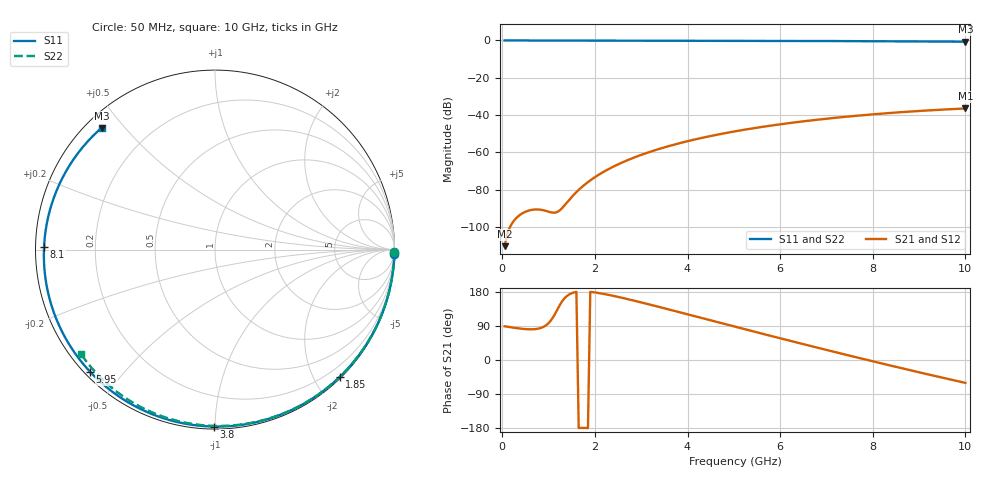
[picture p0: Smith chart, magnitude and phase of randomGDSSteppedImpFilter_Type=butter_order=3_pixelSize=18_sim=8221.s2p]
! freq	dB(S11)	phase(S11)	dB(S12)	phase(S12)
!  dB(S21)	phase(S21)	dB(S22)	phase(S22)
!S-par simulation data
#  GHz  S  DB  R 50
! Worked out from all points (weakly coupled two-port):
!   200 points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, 50 MHz to 10 GHz, reference 50 ohm
!   highest |S21| = -36.46 dB at 10 GHz (marker M1); lowest = -110.3 dB at 50 MHz (marker M2)
!   lowest |S11| = -0.7 dB at 10 GHz (marker M3), VSWR 26.42, Z = 2.25 + j21.7 ohm
!   |S11| at or under -10 dB: nowhere
!   |S22| runs from -0.5 to 0.0 dB; largest |S21 - S12| = 0
!   S11 on the Smith chart (normalised r, x): 50 MHz: 0, -90; 1.85 GHz: 0.02, -2.37; 3.8 GHz: 0.01, -1.00; 5.95 GHz: 0.02, -0.41; 8.1 GHz: 0.02, +0.01; 10 GHz: 0.04, +0.43
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0.05  -0.00 -1.3  -110.26 89.0  -110.26 89.0  -0.00 -0.8
0.8  -0.03 -20.0  -90.64 83.5  -90.64 83.5  -0.02 -13.1
1.2  -0.04 -29.9  -91.78 135.8  -91.78 135.8  -0.02 -19.6
1.65  -0.05 -40.9  -80.08 -179.6  -80.08 -179.6  -0.03 -26.8
1.75  -0.06 -43.3  -77.88 -179.1  -77.88 -179.1  -0.04 -28.4
1.85  -0.06 -45.7  -75.91 -179.6  -75.91 -179.6  -0.04 -30.0
2.15  -0.07 -52.8  -70.95 175.3  -70.95 175.3  -0.04 -34.7
2.5  -0.08 -61.0  -66.41 166.5  -66.41 166.5  -0.05 -40.2
2.9  -0.09 -70.2  -62.24 155.0  -62.24 155.0  -0.06 -46.3
3.4  -0.11 -81.5  -58.04 139.6  -58.04 139.6  -0.07 -53.9
3.8  -0.12 -90.3  -55.24 127.0  -55.24 127.0  -0.08 -59.9
4.4  -0.15 -103.2  -51.73 107.9  -51.73 107.9  -0.10 -68.7
5.05  -0.18 -116.9  -48.60 87.2  -48.60 87.2  -0.12 -77.9
5.95  -0.23 -135.6  -45.11 58.9  -45.11 58.9  -0.16 -90.3
6.7  -0.29 -151.1  -42.77 35.7  -42.77 35.7  -0.19 -100.3
7.4  -0.35 -165.8  -40.94 14.5  -40.94 14.5  -0.24 -109.5
8.1  -0.42 179.0  -39.40 -6.4  -39.40 -6.4  -0.29 -118.4
8.35  -0.45 173.4  -38.91 -13.7  -38.91 -13.7  -0.31 -121.5
8.8  -0.50 163.0  -38.12 -26.7  -38.12 -26.7  -0.35 -127.2
9.2  -0.55 153.4  -37.49 -38.2  -37.49 -38.2  -0.39 -132.2
9.6  -0.60 143.4  -36.94 -49.4  -36.94 -49.4  -0.43 -137.2
10  -0.66 133.0  -36.46 -60.4  -36.46 -60.4  -0.48 -142.2
